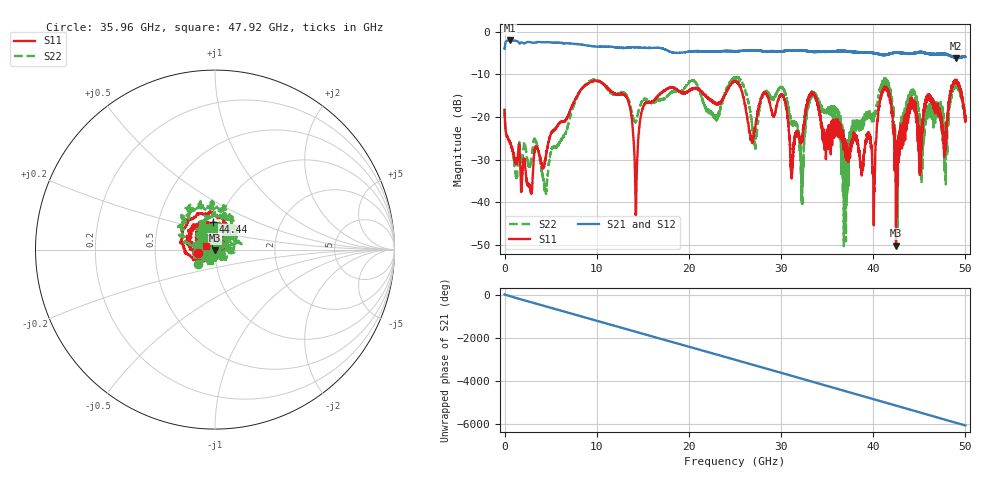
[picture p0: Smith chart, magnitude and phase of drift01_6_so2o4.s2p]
!Created with skrf (http://scikit-rf.org).
# Hz S RI R 50.0
!freq ReS11 ImS11 ReS21 ImS21 ReS12 ImS12 ReS22 ImS22
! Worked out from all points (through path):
!   10001 points, 300 kHz to 50 GHz, reference 50 ohm
!   highest |S21| = -2.00 dB at 570.3 MHz (marker M1); lowest = -6.1 dB at 48.98 GHz (marker M2)
!   group delay of S21, straight-line fit = 336 ps
!   lowest |S11| = -50.2 dB at 42.48 GHz (marker M3), VSWR 1.01, Z = 49.9 - j0.298 ohm
!   |S11| at or under -10 dB: start of sweep to end of sweep
!   |S22| runs from -50.4 to -10.5 dB; largest |S21 - S12| = 0.017
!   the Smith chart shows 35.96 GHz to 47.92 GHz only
!   S11 on the Smith chart (normalised r, x): 35.96 GHz: 0.83, -0.03; 44.44 GHz: 0.93, +0.29; 47.92 GHz: 0.90, +0.04
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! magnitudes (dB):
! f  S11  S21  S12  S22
! 300 kHz  -18.4  -4.0  -4.0  -18.0
! 570.3 MHz  -26.0  -2.0  -2.0  -26.1
! 4.435 GHz  -29.9  -2.4  -2.4  -37.0
! 8.335 GHz  -13.4  -3.0  -3.0  -13.5
! 13.16 GHz  -15.1  -3.8  -3.8  -14.7
! 14.25 GHz  -42.7  -3.6  -3.6  -21.1
! 16.67 GHz  -15.0  -3.7  -3.7  -15.9
! 25 GHz  -11.6  -4.5  -4.6  -11.0
! 27.14 GHz  -22.6  -4.3  -4.3  -25.8
! 30.19 GHz  -15.1  -4.5  -4.5  -13.2
! 31.14 GHz  -33.0  -4.3  -4.3  -21.5
! 32.23 GHz  -24.8  -4.4  -4.4  -38.9
! 33.34 GHz  -14.4  -4.7  -4.6  -14.7
! 35.96 GHz  -20.6  -4.6  -4.6  -18.2
! 37.04 GHz  -27.2  -4.6  -4.5  -28.6
! 40.02 GHz  -36.0  -5.0  -5.0  -20.8
! 41.67 GHz  -14.5  -5.1  -5.2  -12.9
! 42.48 GHz  -50.2  -4.8  -4.8  -31.6
! 44.44 GHz  -16.2  -5.0  -5.0  -14.6
! 47.92 GHz  -25.1  -5.1  -5.2  -23.0
! 48.98 GHz  -11.5  -6.1  -6.1  -12.8
! 50 GHz  -20.2  -5.9  -5.8  -19.7
